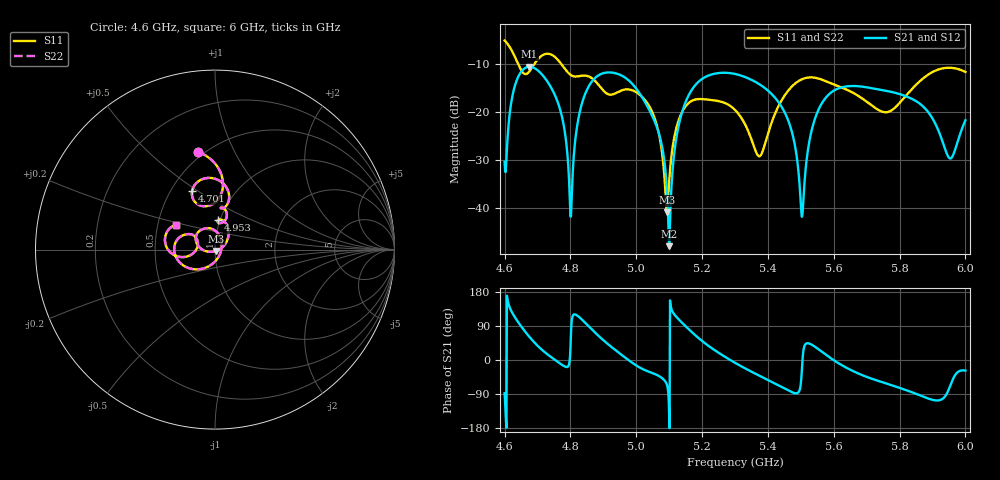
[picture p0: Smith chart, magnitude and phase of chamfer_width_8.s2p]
! TOUCHSTONE file generated by CST MICROWAVE STUDIO
! Date and time: Sat Nov 30 03:28:48 2024
! Project name: test_tuning.cst
! Parameters = {airCoaxOuterDiameter=3; chamferAngle=45; chamferWidth=16; connectorLength=10; drillingHoleDiameter=4.1; feedLength=60; flareDiameter=130; flareLength=70; gratingDistance=0; gratingGap=1.90274; outletLength=30; polarizerLength=134; probe1Diameter=1.3; probe1Distance=14; probe1Length=1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
! Header version: 2024
! Port assignment regex: !\s*Touchstone port\s*([0-9]+)\s*=\s*(CST MWS port|CST DES external port|CST DES block port)\s*(.+)\s* \(\"(.*)\"\)(\s*mode\s*([0-9]+))?.*
! Touchstone port assignment:
! Touchstone port 1 = CST MWS port 1 ("Input1")
! Touchstone port 2 = CST MWS port 2 ("Input2")
# GHz S MA R 50
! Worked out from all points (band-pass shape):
!   1001 points, 4.6 GHz to 6 GHz, reference 50 ohm
!   highest |S21| = -10.64 dB at 4.676 GHz (marker M1); lowest = -48.0 dB at 5.1 GHz (marker M2)
!   |S21| within 3 dB of the highest: 4.866 GHz to 4.98 GHz (113.6 MHz wide, 2.31 % of centre); 5.191 GHz to 5.358 GHz (166.6 MHz wide, 3.16 % of centre)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
!   lowest |S11| = -41.0 dB at 5.093 GHz (marker M3), VSWR 1.02, Z = 50.4 - j0.819 ohm
!   |S11| at or under -10 dB: 4.641 GHz to 4.691 GHz (50.3 MHz wide, 1.08 % of centre); 4.771 GHz to end of sweep
!   |S22| runs from -41.0 to -5.2 dB; largest |S21 - S12| = 3.2e-07
!   S11 on the Smith chart (normalised r, x): 4.6 GHz: 0.47, +0.73; 4.701 GHz: 0.64, +0.47; 4.953 GHz: 0.98, +0.33; 6 GHz: 0.62, +0.18
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4.6  0.552 99.7  0.03001 -87.8  0.03001 -87.8  0.552 99.7
4.6294  0.3842 83.5  0.1768 115.4  0.1768 115.4  0.3842 83.5
4.6756  0.2638 109.7  0.2936 60.7  0.2936 60.7  0.2638 109.7
4.7008  0.3503 111.4  0.2692 37.1  0.2692 37.1  0.3503 111.4
4.7694  0.3228 76.3  0.103 -9.8  0.103 -9.8  0.3228 76.3
4.8002  0.2422 77.1  0.008045 34.5  0.008045 34.5  0.2422 77.1
4.8338  0.2366 81.9  0.1179 107.6  0.1179 107.6  0.2366 81.9
4.9528  0.1651 84.3  0.2402 15.2  0.2402 15.2  0.1651 84.3
5.0676  0.06142 27.0  0.06117 -41.6  0.06117 -41.6  0.06142 27.0
5.0928  0.008906 -65.8  0.01608 -64.5  0.01608 -64.5  0.008905 -65.8
5.0998  0.01836 -139.9  0.003963 -137.8  0.003963 -137.8  0.01836 -140.0
5.1222  0.06827 -178.9  0.05437 113.4  0.05437 113.4  0.06827 -178.9
5.1572  0.1213 152.1  0.1434 83.0  0.1434 83.0  0.1213 152.1
5.3  0.1042 88.6  0.2471 -7.4  0.2471 -7.4  0.1042 88.6
5.3756  0.03438 -22.1  0.1915 -42.1  0.1915 -42.1  0.03438 -22.1
5.4638  0.1691 -140.6  0.07735 -81.2  0.07735 -81.2  0.1691 -140.6
5.503  0.2173 -165.7  0.008019 -29.2  0.008019 -29.2  0.2173 -165.7
5.5338  0.2275 177.0  0.06574 40.0  0.06574 40.0  0.2275 177.0
5.6066  0.188 153.8  0.1702 -4.3  0.1702 -4.3  0.188 153.8
5.7676  0.09993 174.4  0.1627 -64.1  0.1627 -64.1  0.09993 174.4
5.9524  0.2866 162.9  0.03259 -71.3  0.03259 -71.3  0.2866 162.9
6  0.2592 148.1  0.08127 -28.0  0.08127 -28.0  0.2592 148.1
